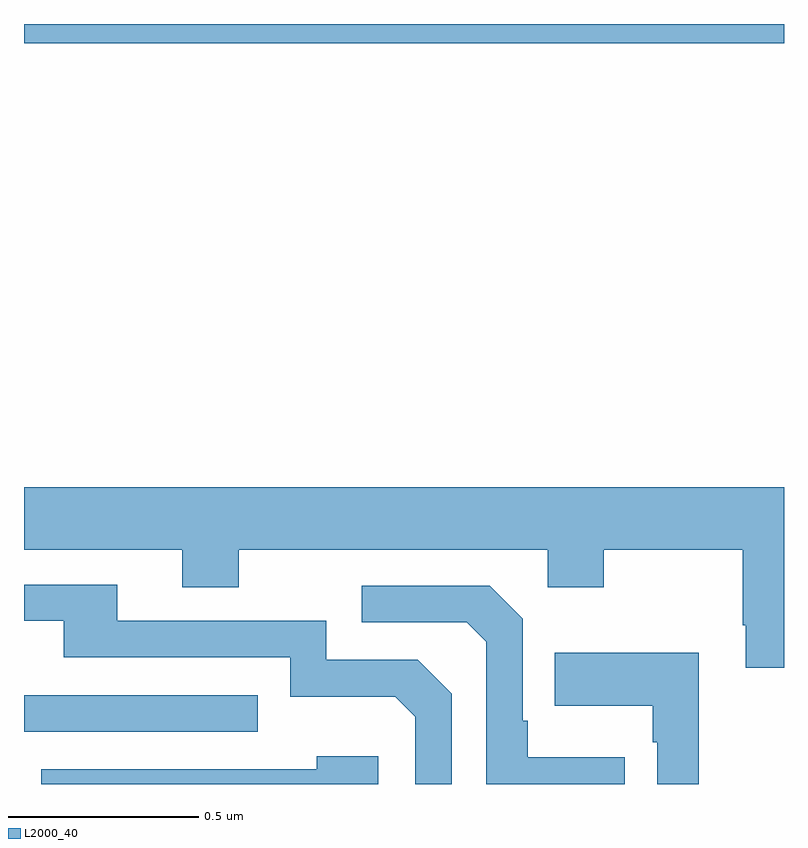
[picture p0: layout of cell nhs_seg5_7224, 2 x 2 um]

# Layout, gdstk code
import gdstk
lib = gdstk.Library(unit=1e-6, precision=1e-09)
def R(c, l, rs):  # rectangles x0, y0, x1, y1
    for r in rs: c.add(gdstk.rectangle(r[:2], r[2:], *l))
def P(c, l, *ps):  # polygons
    for p in ps: c.add(gdstk.Polygon(p, *l))
L2000_40 = (2000, 40)

nhs_seg5_7224 = lib.new_cell('nhs_seg5_7224')
R(nhs_seg5_7224, L2000_40, [(206,866.937,206.615,867.033), (206,868.748,208,868.799)])
P(nhs_seg5_7224, L2000_40, [(208,867.58),(206,867.58),(206,867.416),(206.417,867.416),(206.417,867.317),(206.565,867.317),(206.565,867.416),(207.378,867.416),(207.378,867.317),(207.525,867.317),(207.525,867.416),(207.892,867.416),(207.892,867.217),(207.899,867.217),(207.899,867.105),(208,867.105)],
  [(207.126,867.036),(207.036,867.126),(206.796,867.126),(206.796,867.228),(206.245,867.228),(206.245,867.324),(206,867.324),(206,867.228),(206.105,867.228),(206.105,867.132),(206.7,867.132),(206.7,867.029),(206.977,867.029),(207.03,866.976),(207.03,866.799),(207.126,866.799)],
  [(207.581,866.869),(207.325,866.869),(207.325,866.965),(207.312,866.965),(207.312,867.234),(207.225,867.321),(206.889,867.321),(206.889,867.225),(207.165,867.225),(207.216,867.174),(207.216,866.799),(207.581,866.799)],
  [(207.775,867.145),(207.397,867.145),(207.397,867.005),(207.654,867.005),(207.654,866.909),(207.666,866.909),(207.666,866.799),(207.775,866.799)],
  [(206.932,866.872),(206.771,866.872),(206.771,866.838),(206.046,866.838),(206.046,866.799),(206.932,866.799)])

lib.write_gds('nhs_seg5_7224.gds')
